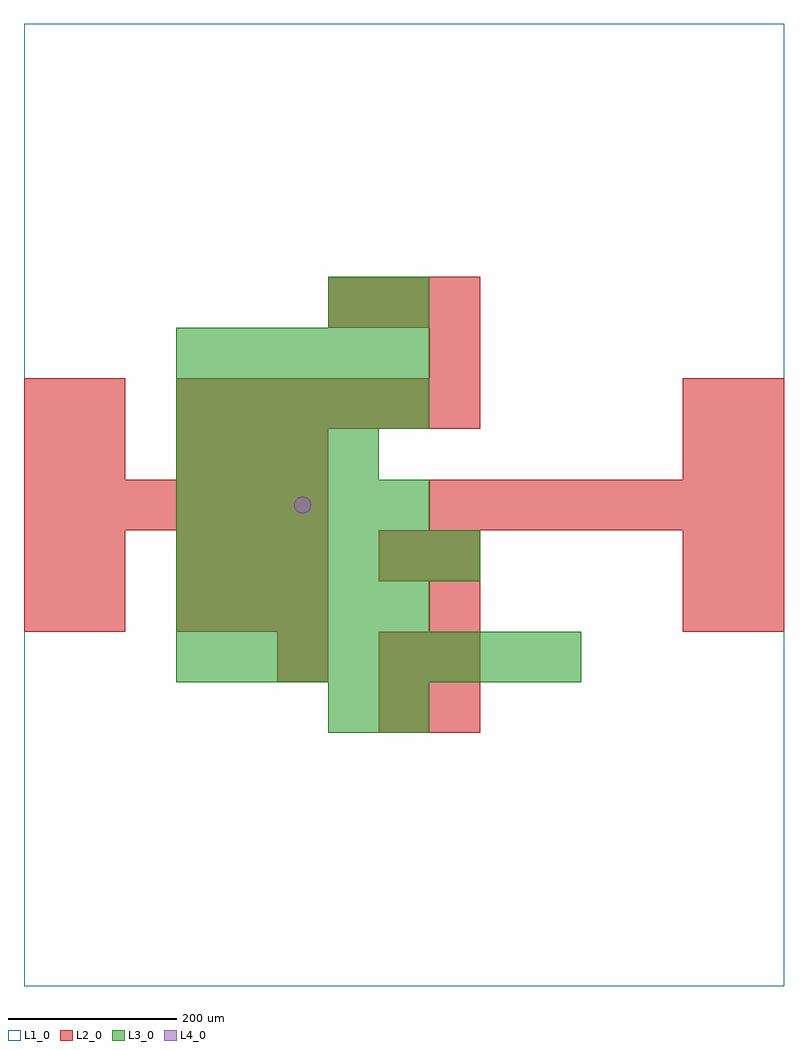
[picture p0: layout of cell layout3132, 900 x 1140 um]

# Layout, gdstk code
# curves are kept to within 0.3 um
import gdstk
lib = gdstk.Library(unit=1e-6, precision=1e-09)
def R(c, l, rs):  # rectangles x0, y0, x1, y1
    for r in rs: c.add(gdstk.rectangle(r[:2], r[2:], *l))
def A(c, l, x, y, w, h, nx, ny, dx, dy):  # array of equal rectangles
    R(c, l, [(x+i*dx, y+j*dy, x+i*dx+w, y+j*dy+h) for i in range(nx) for j in range(ny)])
def P(c, l, *ps):  # polygons
    for p in ps: c.add(gdstk.Polygon(p, *l))
L1_0 = (1, 0)
L2_0 = (2, 0)
L3_0 = (3, 0)
L4_0 = (4, 0)

layout3132 = lib.new_cell('layout3132')
R(layout3132, L1_0, [(0,0,900,1140)])
A(layout3132, L2_0, 480, 300, 60, 60, 1, 4, 0, 60)
A(layout3132, L2_0, 180, 420, 60, 60, 3, 2, 60, 60)
A(layout3132, L2_0, 0, 540, 60, 60, 6, 1, 60, 0)
A(layout3132, L2_0, 480, 540, 60, 60, 7, 1, 60, 0)
A(layout3132, L2_0, 180, 600, 60, 60, 3, 1, 60, 0)
A(layout3132, L2_0, 180, 660, 60, 60, 6, 1, 60, 0)
A(layout3132, L2_0, 360, 780, 60, 60, 3, 1, 60, 0)
R(layout3132, L2_0, [(420,300,480,360), (300,360,360,420), (420,360,480,420), (0,420,60,480), (60,420,120,480), (780,420,840,480), (840,420,900,480), (0,480,60,540), (60,480,120,540), (420,480,480,540), (780,480,840,540), (840,480,900,540), (0,600,60,660), (60,600,120,660), (780,600,840,660), (840,600,900,660), (0,660,60,720), (60,660,120,720), (780,660,840,720), (840,660,900,720), (480,720,540,780)])
A(layout3132, L3_0, 180, 360, 60, 60, 8, 1, 60, 0)
A(layout3132, L3_0, 180, 420, 60, 60, 5, 3, 60, 120)
A(layout3132, L3_0, 180, 480, 60, 60, 6, 1, 60, 0)
A(layout3132, L3_0, 180, 600, 60, 60, 4, 1, 60, 0)
A(layout3132, L3_0, 180, 720, 60, 60, 5, 1, 60, 0)
R(layout3132, L3_0, [(360,300,420,360), (420,300,480,360), (360,780,420,840), (420,780,480,840)])
P(layout3132, L4_0, [(340,570),(339.239,573.827),(337.071,577.071),(333.827,579.239),(330,580),(326.173,579.239),(322.929,577.071),(320.761,573.827),(320,570),(320.761,566.173),(322.929,562.929),(326.173,560.761),(330,560),(333.827,560.761),(337.071,562.929),(339.239,566.173)])

lib.write_gds('layout3132.gds')
